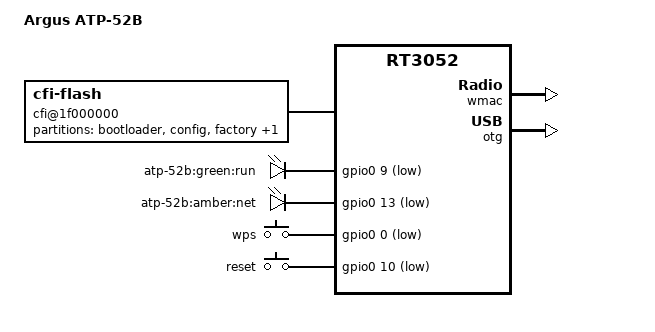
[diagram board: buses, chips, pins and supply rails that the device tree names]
/dts-v1/;

#include "rt3050.dtsi"

#include <dt-bindings/gpio/gpio.h>
#include <dt-bindings/input/input.h>

/ {
	compatible = "argus,atp-52b", "ralink,rt3052-soc";
	model = "Argus ATP-52B";

	aliases {
		led-status = &led_run;
	};

	cfi@1f000000 {
		compatible = "cfi-flash";
		reg = <0x1f000000 0x800000>;
		bank-width = <2>;
		device-width = <2>;

		partitions {
			compatible = "fixed-partitions";
			#address-cells = <1>;
			#size-cells = <1>;

			partition@0 {
				label = "bootloader";
				reg = <0x0 0x30000>;
				read-only;
			};

			partition@30000 {
				label = "config";
				reg = <0x30000 0x10000>;
			};

			factory: partition@40000 {
				label = "factory";
				reg = <0x40000 0x10000>;
			};

			partition@50000 {
				label = "firmware";
				reg = <0x50000 0x7a0000>;
			};
		};
	};

	gpio-leds {
		compatible = "gpio-leds";

		led_run: run {
			label = "atp-52b:green:run";
			gpios = <&gpio0 9 GPIO_ACTIVE_LOW>;
		};

		net {
			label = "atp-52b:amber:net";
			gpios = <&gpio0 13 GPIO_ACTIVE_LOW>;
		};
	};

	gpio-keys-polled {
		compatible = "gpio-keys-polled";
		poll-interval = <20>;

		wps {
			label = "wps";
			gpios = <&gpio0 0 GPIO_ACTIVE_LOW>;
			linux,code = <KEY_WPS_BUTTON>;
		};

		reset {
			label = "reset";
			gpios = <&gpio0 10 GPIO_ACTIVE_LOW>;
			linux,code = <KEY_RESTART>;
		};
	};
};

&pinctrl {
	state_default: pinctrl0 {
		gpio {
			ralink,group = "i2c", "jtag", "rgmii", "mdio", "uartf";
			ralink,function = "gpio";
		};
	};
};


&ethernet {
	mtd-mac-address = <&factory 0x4>;
};

&esw {
	mediatek,portmap = <0x3e>;
};

&wmac {
	ralink,mtd-eeprom = <&factory 0>;
};

&otg {
	status = "okay";
};
